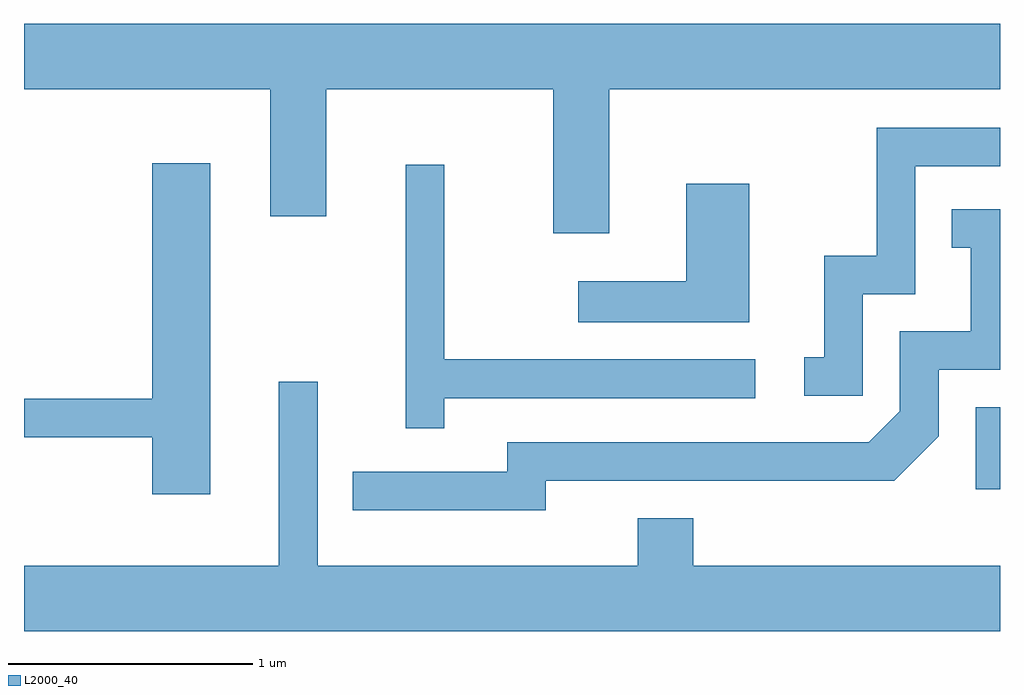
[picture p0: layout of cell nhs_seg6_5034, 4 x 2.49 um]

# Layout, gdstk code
import gdstk
lib = gdstk.Library(unit=1e-6, precision=1e-09)
def R(c, l, rs):  # rectangles x0, y0, x1, y1
    for r in rs: c.add(gdstk.rectangle(r[:2], r[2:], *l))
def P(c, l, *ps):  # polygons
    for p in ps: c.add(gdstk.Polygon(p, *l))
L2000_40 = (2000, 40)

nhs_seg6_5034 = lib.new_cell('nhs_seg6_5034')
R(nhs_seg6_5034, L2000_40, [(341.511,1666.058,341.611,1666.394)])
P(nhs_seg6_5034, L2000_40, [(340.009,1667.696),(341.611,1667.696),(341.611,1667.964),(337.611,1667.964),(337.611,1667.696),(338.621,1667.696),(338.621,1667.176),(338.849,1667.176),(338.849,1667.696),(339.781,1667.696),(339.781,1667.106),(340.009,1667.106)],
  [(341.049,1666.856),(341.264,1666.856),(341.264,1667.381),(341.611,1667.381),(341.611,1667.539),(341.106,1667.539),(341.106,1667.014),(340.891,1667.014),(340.891,1666.599),(340.808,1666.599),(340.808,1666.441),(341.049,1666.441)],
  [(338.374,1667.394),(338.136,1667.394),(338.136,1666.429),(337.611,1666.429),(337.611,1666.271),(338.136,1666.271),(338.136,1666.036),(338.374,1666.036)],
  [(339.334,1666.431),(340.608,1666.431),(340.608,1666.589),(339.334,1666.589),(339.334,1667.388),(339.176,1667.388),(339.176,1666.308),(339.334,1666.308)],
  [(340.584,1667.309),(340.326,1667.309),(340.326,1666.909),(339.883,1666.909),(339.883,1666.741),(340.584,1666.741)],
  [(339.749,1666.091),(341.177,1666.091),(341.359,1666.274),(341.359,1666.546),(341.611,1666.546),(341.611,1667.204),(341.413,1667.204),(341.413,1667.046),(341.491,1667.046),(341.491,1666.704),(341.201,1666.704),(341.201,1666.377),(341.074,1666.249),(339.591,1666.249),(339.591,1666.129),(338.958,1666.129),(338.958,1665.971),(339.749,1665.971)],
  [(341.611,1665.744),(340.354,1665.744),(340.354,1665.939),(340.126,1665.939),(340.126,1665.744),(338.814,1665.744),(338.814,1666.498),(338.656,1666.498),(338.656,1665.744),(337.611,1665.744),(337.611,1665.476),(341.611,1665.476)])

lib.write_gds('nhs_seg6_5034.gds')
